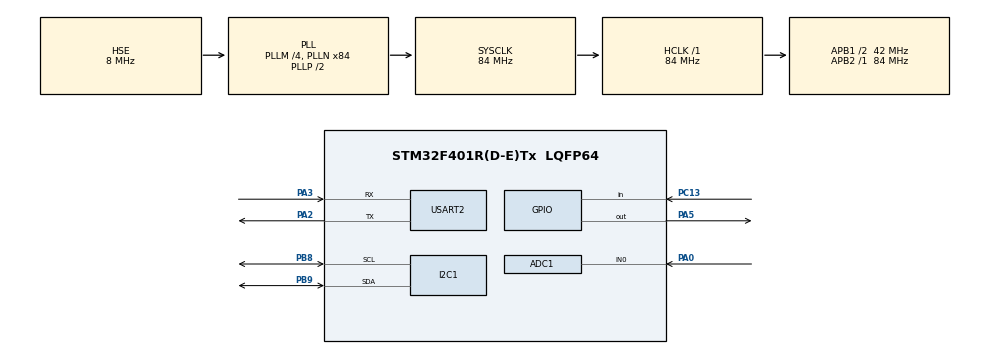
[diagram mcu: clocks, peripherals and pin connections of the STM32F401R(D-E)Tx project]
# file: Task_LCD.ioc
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ADC1.Channel-0\#ChannelRegularConversion=ADC_CHANNEL_0
ADC1.ContinuousConvMode=DISABLE
ADC1.NbrOfConversionFlag=1
ADC1.Rank-0\#ChannelRegularConversion=1
ADC1.SamplingTime-0\#ChannelRegularConversion=ADC_SAMPLETIME_3CYCLES
ADC1.master=1
Mcu.Family=STM32F4
Mcu.Name=STM32F401R(D-E)Tx
Mcu.Package=LQFP64
NVIC.PriorityGroup=NVIC_PRIORITYGROUP_4
NVIC.TIM1_TRG_COM_TIM11_IRQn=true\:15\:0\:false\:false\:true\:false\:true\:true
NVIC.TimeBase=TIM1_TRG_COM_TIM11_IRQn
NVIC.TimeBaseIP=TIM11
NVIC.USART2_IRQn=true\:0\:0\:false\:false\:true\:true\:true\:true
PA0-WKUP.Signal=ADCx_IN0
PA2.Mode=Asynchronous
PA2.Signal=USART2_TX
PA3.Mode=Asynchronous
PA3.Signal=USART2_RX
PA5.Signal=GPIO_Output
PB8.Mode=I2C
PB8.Signal=I2C1_SCL
PB9.Mode=I2C
PB9.Signal=I2C1_SDA
PC13-ANTI_TAMP.Signal=GPIO_Input
PH0\ -\ OSC_IN.Mode=HSE-External-Clock-Source
PH0\ -\ OSC_IN.Signal=RCC_OSC_IN
PH1\ -\ OSC_OUT.Mode=HSE-External-Clock-Source
PH1\ -\ OSC_OUT.Signal=RCC_OSC_OUT
ProjectManager.HeapSize=0x200
ProjectManager.StackSize=0x400
ProjectManager.TargetToolchain=STM32CubeIDE
RCC.48MHZClocksFreq_Value=42000000
RCC.AHBFreq_Value=84000000
RCC.APB1CLKDivider=RCC_HCLK_DIV2
RCC.APB1Freq_Value=42000000
RCC.APB1TimFreq_Value=84000000
RCC.APB2Freq_Value=84000000
RCC.APB2TimFreq_Value=84000000
RCC.CortexFreq_Value=84000000
RCC.HCLKFreq_Value=84000000
RCC.HSE_VALUE=8000000
RCC.HSI_VALUE=16000000
RCC.LSE_VALUE=32768
RCC.PLLM=4
RCC.PLLN=84
RCC.PLLSourceVirtual=RCC_PLLSOURCE_HSE
RCC.SYSCLKFreq_VALUE=84000000
RCC.SYSCLKSource=RCC_SYSCLKSOURCE_PLLCLK
RCC.VCOOutputFreq_Value=168000000
SH.ADCx_IN0.0=ADC1_IN0,IN0
USART2.VirtualMode=VM_ASYNC
VP_SYS_VS_tim11.Mode=TIM11
board=custom

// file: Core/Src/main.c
/* USER CODE BEGIN Header */
/**
  ******************************************************************************
  * @file           : main.c
  * @brief          : Main program body
  ******************************************************************************
  * @attention
  *
  * Copyright (c) 2022 STMicroelectronics.
  * All rights reserved.
  *
  * This software is licensed under terms that can be found in the LICENSE file
  * in the root directory of this software component.
  * If no LICENSE file comes with this software, it is provided AS-IS.
  *
  ******************************************************************************
  */
/* USER CODE END Header */
#include "main.h"
#include "adc.h"
#include "i2c.h"
#include "usart.h"
#include "gpio.h"

/* USER CODE BEGIN Includes */
#include "FreeRTOS.h"
#include "task.h"
#include "semphr.h"

#include <stdio.h>
#include <stdarg.h>
#include <string.h>
#include "Config.h"
#include "LCD.h"
/* USER CODE END Includes */

/* USER CODE BEGIN PTD */
typedef struct{
	char Head[40];
	char temp[7];
}AMessgage;
/* USER CODE END PTD */

/* USER CODE BEGIN PM */
/**
 * 0 : no se desea usar segger system view
 * 1 : se usa para la depuracion
 */
#define SYSTEM_VIEW				1
/* USER CODE END PM */

/* USER CODE BEGIN PV */
TaskHandle_t task1_handle;
TaskHandle_t task2_handle;
TaskHandle_t task3_handle;
SemaphoreHandle_t xSemaphore;

AMessgage msg;
uint16_t data;					//adc read data
/* USER CODE END PV */

void SystemClock_Config(void);
/* USER CODE BEGIN PFP */
void task1(void *params);
void task2(void *params);
void task3(void *params);

void I2C_MasterSendData(I2C_TypeDef *I2Cx, uint8_t SlaveAddr,uint8_t *pTxbuffer, uint32_t Len);
void UART_Printf(char *format,...);
/* USER CODE END PFP */

int main(void)
{
  /* USER CODE BEGIN 1 */
	BaseType_t status;
  /* USER CODE END 1 */

  /* MCU Configuration--------------------------------------------------------*/

  /* Reset of all peripherals, Initializes the Flash interface and the Systick. */
  HAL_Init();

  /* Configure the system clock */
  SystemClock_Config();

  /* Initialize all configured peripherals */
  MX_GPIO_Init();
  MX_USART2_UART_Init();
  MX_ADC1_Init();
  MX_I2C1_Init();

  /* USER CODE BEGIN 2 */
#if SYSTEM_VIEW
//  NVIC_SetPriorityGrouping(0);
  DWT->CTRL |= 1;
  SEGGER_SYSVIEW_Conf();
  /*solo se va usar cuando se trabaje en modo one shot*/
//  SEGGER_SYSVIEW_Start();

#endif

  status = xTaskCreate(task1,
		  	  	  	  "controlador de sensor externo",
					  configMINIMAL_STACK_SIZE,
					  NULL,
					  3,
					  &task1_handle);
  configASSERT(status == pdPASS);

  status = xTaskCreate(task2,
		  	  	  	  "tarea UART",
					  configMINIMAL_STACK_SIZE,
					  NULL,
					  3,
					  &task2_handle);
  configASSERT(status == pdPASS);

  status = xTaskCreate(task3,
		  	  	  	  "controlador de sensor interno",
					  configMINIMAL_STACK_SIZE,
					  NULL,
					  3,
					  &task3_handle);
  configASSERT(status == pdPASS);

  /*creacion de mutex*/
  xSemaphore = xSemaphoreCreateMutex();
  configASSERT(xSemaphore != NULL);
  /* inicializa el kernel*/
  vTaskStartScheduler();
  /* USER CODE END 2 */

  /* Infinite loop */
  while (1)
  {

  }
}

void SystemClock_Config(void)
{
  RCC_OscInitTypeDef RCC_OscInitStruct = {0};
  RCC_ClkInitTypeDef RCC_ClkInitStruct = {0};

  /** Configure the main internal regulator output voltage
  */
  __HAL_RCC_PWR_CLK_ENABLE();
  __HAL_PWR_VOLTAGESCALING_CONFIG(PWR_REGULATOR_VOLTAGE_SCALE2);

  /** Initializes the RCC Oscillators according to the specified parameters
  * in the RCC_OscInitTypeDef structure.
  */
  RCC_OscInitStruct.OscillatorType = RCC_OSCILLATORTYPE_HSE;
  RCC_OscInitStruct.HSEState = RCC_HSE_BYPASS;
  RCC_OscInitStruct.PLL.PLLState = RCC_PLL_ON;
  RCC_OscInitStruct.PLL.PLLSource = RCC_PLLSOURCE_HSE;
  RCC_OscInitStruct.PLL.PLLM = 4;
  RCC_OscInitStruct.PLL.PLLN = 84;
  RCC_OscInitStruct.PLL.PLLP = RCC_PLLP_DIV2;
  RCC_OscInitStruct.PLL.PLLQ = 4;
  if (HAL_RCC_OscConfig(&RCC_OscInitStruct) != HAL_OK)
  {
    Error_Handler();
  }

  /** Initializes the CPU, AHB and APB buses clocks
  */
  RCC_ClkInitStruct.ClockType = RCC_CLOCKTYPE_HCLK|RCC_CLOCKTYPE_SYSCLK
                              |RCC_CLOCKTYPE_PCLK1|RCC_CLOCKTYPE_PCLK2;
  RCC_ClkInitStruct.SYSCLKSource = RCC_SYSCLKSOURCE_PLLCLK;
  RCC_ClkInitStruct.AHBCLKDivider = RCC_SYSCLK_DIV1;
  RCC_ClkInitStruct.APB1CLKDivider = RCC_HCLK_DIV2;
  RCC_ClkInitStruct.APB2CLKDivider = RCC_HCLK_DIV1;

  if (HAL_RCC_ClockConfig(&RCC_ClkInitStruct, FLASH_LATENCY_2) != HAL_OK)
  {
    Error_Handler();
  }
}

/* USER CODE BEGIN 4 */
void task1(void *params){
	uint16_t adcValue;
	int temperature;
	float mV;
	sprintf(msg.Head,"controlador temperatura exteno");
	while(1){
		/*mutux take*/
		if (xSemaphoreTake(xSemaphore, pdMS_TO_TICKS(1000))){

			/*lectura de valor de sensor*/
			HAL_ADC_Start(&hadc1);
			HAL_Delay(1);
			adcValue = HAL_ADC_GetValue(&hadc1);
			mV = adcValue * 3300.0 / 4096.0;			//voltaje en mv
			mV = mV / 10;								//temp en °C
			temperature = (int) mV;						//temperatura como entero
			sprintf(msg.temp,"%d",temperature);			//temperatura a char
			xSemaphoreGive(xSemaphore);
		}

		vTaskDelay(pdMS_TO_TICKS(5000));
	}
}
void task2(void *params){

	while(1){

	}
}
void task3(void *params){

	while(1){

	}
}

/********************************************************************************************/

void I2C_MasterSendData(I2C_TypeDef *I2Cx, uint8_t SlaveAddr,uint8_t *pTxbuffer, uint32_t Len){

	volatile int tmp;

	/*verificar los datos*/
	if(Len <= 0 || pTxbuffer == ((void *)0))
		return;
	/*esperar que la linea estÃ© libre*/
	while((I2Cx->SR2 & I2C_SR2_BUSY));

	//1. generar la condiciÃ³n de start
	I2Cx->CR1 |= I2C_CR1_START;
	//2. esperar que la condiciÃ³n de inicio se haya generado
	while(!(I2Cx->SR1 & I2C_SR1_SB));

	//3. enviar la direccion del esclavo con r/w bit
	SlaveAddr = SlaveAddr <<1 ;
	SlaveAddr &=~(1U);						//write operation
	I2Cx->DR = SlaveAddr;
	//4. verificar que la fase de direccion se completÃ³
	while(!(I2Cx->SR1 & I2C_SR1_ADDR));
	//5. limpiar el flag
	tmp = I2Cx->SR1;
	tmp = I2Cx->SR2;
	(void)tmp;

	//6. enviar los datos
	while(Len > 0){

		while(!(I2Cx->SR1 & I2C_SR1_TXE));
		I2Cx->DR = *pTxbuffer;
		pTxbuffer++;
		Len--;
	}
	//7. esperar hasta que la transmision se complete
	while(!(I2Cx->SR1 & I2C_SR1_TXE));
	while(!(I2Cx->SR1 & I2C_SR1_BTF));

	//8. generar la condiciÃ³n de stop
	I2Cx->CR1 |= I2C_CR1_STOP;

	return;
}
/***************************************************************/
BaseType_t count;
void vApplicationIdleHook( void ){
	count++;
	UART_Printf("hook function->%d\r\n",count);

	//__WFI();		//modo de bajo consumo (despierta con una IT)
	//__WFE();		// despierta con un evento
	return;
}
/**
 * se va ejecutar cada que ocurra una ISR del tick
 */
void vApplicationTickHook( void ){

	return;
}

void UART_Printf(char *format,...){
    char str[80];

    /*Extract the the argument list using VA apis */
    va_list args;
    va_start(args, format);
    vsprintf(str, format,args);
    HAL_UART_Transmit(&huart2, (uint8_t*)str, strlen(str), 10);
    va_end(args);
}
/* USER CODE END 4 */

void HAL_TIM_PeriodElapsedCallback(TIM_HandleTypeDef *htim)
{
  if (htim->Instance == TIM11) {
    HAL_IncTick();
  }
}

void Error_Handler(void)
{
  __disable_irq();
  while (1)
  {
  }
}
